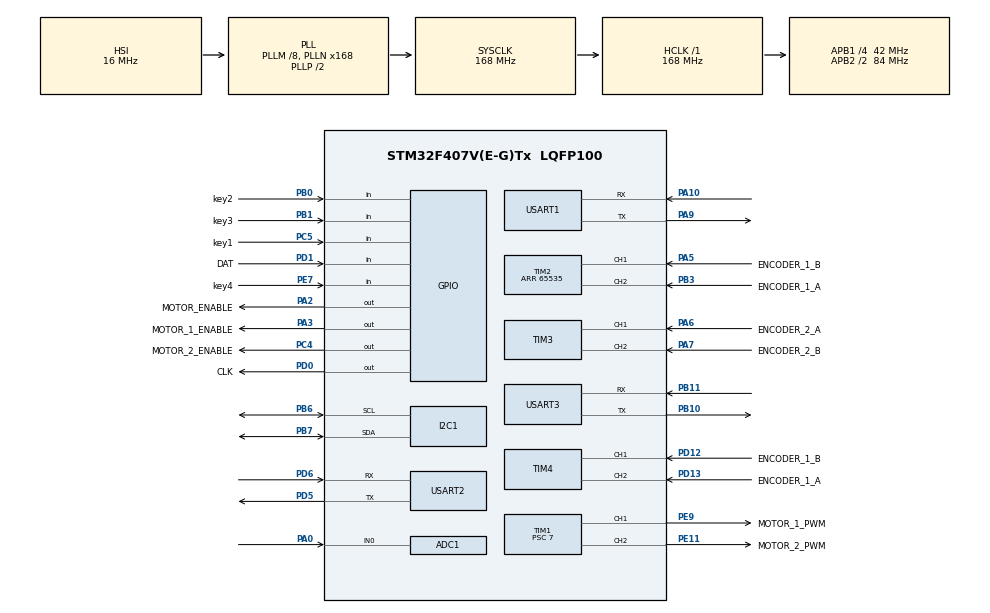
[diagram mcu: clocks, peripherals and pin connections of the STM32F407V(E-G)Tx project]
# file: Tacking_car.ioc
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ADC1.Channel-0\#ChannelRegularConversion=ADC_CHANNEL_0
ADC1.NbrOfConversion=1
ADC1.NbrOfConversionFlag=1
ADC1.Rank-0\#ChannelRegularConversion=1
ADC1.SamplingTime-0\#ChannelRegularConversion=ADC_SAMPLETIME_3CYCLES
ADC1.master=1
Dma.Request0=USART2_RX
Dma.Request1=USART2_TX
Dma.Request2=USART1_RX
Dma.Request3=USART1_TX
Dma.USART1_RX.2.Direction=DMA_PERIPH_TO_MEMORY
Dma.USART1_RX.2.FIFOMode=DMA_FIFOMODE_DISABLE
Dma.USART1_RX.2.Instance=DMA2_Stream2
Dma.USART1_RX.2.MemDataAlignment=DMA_MDATAALIGN_BYTE
Dma.USART1_RX.2.MemInc=DMA_MINC_ENABLE
Dma.USART1_RX.2.Mode=DMA_CIRCULAR
Dma.USART1_RX.2.PeriphDataAlignment=DMA_PDATAALIGN_BYTE
Dma.USART1_RX.2.PeriphInc=DMA_PINC_DISABLE
Dma.USART1_RX.2.Priority=DMA_PRIORITY_LOW
Dma.USART1_TX.3.Direction=DMA_MEMORY_TO_PERIPH
Dma.USART1_TX.3.FIFOMode=DMA_FIFOMODE_DISABLE
Dma.USART1_TX.3.Instance=DMA2_Stream7
Dma.USART1_TX.3.MemDataAlignment=DMA_MDATAALIGN_BYTE
Dma.USART1_TX.3.MemInc=DMA_MINC_ENABLE
Dma.USART1_TX.3.Mode=DMA_NORMAL
Dma.USART1_TX.3.PeriphDataAlignment=DMA_PDATAALIGN_BYTE
Dma.USART1_TX.3.PeriphInc=DMA_PINC_DISABLE
Dma.USART1_TX.3.Priority=DMA_PRIORITY_LOW
Dma.USART2_RX.0.Direction=DMA_PERIPH_TO_MEMORY
Dma.USART2_RX.0.FIFOMode=DMA_FIFOMODE_DISABLE
Dma.USART2_RX.0.Instance=DMA1_Stream5
Dma.USART2_RX.0.MemDataAlignment=DMA_MDATAALIGN_BYTE
Dma.USART2_RX.0.MemInc=DMA_MINC_ENABLE
Dma.USART2_RX.0.Mode=DMA_CIRCULAR
Dma.USART2_RX.0.PeriphDataAlignment=DMA_PDATAALIGN_BYTE
Dma.USART2_RX.0.PeriphInc=DMA_PINC_DISABLE
Dma.USART2_RX.0.Priority=DMA_PRIORITY_LOW
Dma.USART2_TX.1.Direction=DMA_MEMORY_TO_PERIPH
Dma.USART2_TX.1.FIFOMode=DMA_FIFOMODE_DISABLE
Dma.USART2_TX.1.Instance=DMA1_Stream6
Dma.USART2_TX.1.MemDataAlignment=DMA_MDATAALIGN_BYTE
Dma.USART2_TX.1.MemInc=DMA_MINC_ENABLE
Dma.USART2_TX.1.Mode=DMA_NORMAL
Dma.USART2_TX.1.PeriphDataAlignment=DMA_PDATAALIGN_BYTE
Dma.USART2_TX.1.PeriphInc=DMA_PINC_DISABLE
Dma.USART2_TX.1.Priority=DMA_PRIORITY_LOW
FREERTOS.Tasks01=defaultTask,24,256,StartDefaultTask,Default,NULL,Dynamic,NULL,NULL;MotorTest_Task,24,256,MotorTest,Default,NULL,Dynamic,NULL,NULL;ImuTask,24,256,ImuTask03,Default,NULL,Dynamic,NULL,NULL;GrayTrace_Task,16,256,GrayTrace,Default,NULL,Dynamic,NULL,NULL;debugTask,8,512,debug,Default,NULL,Dynamic,NULL,NULL;vofaTask06,8,512,vofa06,Default,NULL,Dynamic,NULL,NULL
Mcu.Family=STM32F4
Mcu.Name=STM32F407V(E-G)Tx
Mcu.Package=LQFP100
NVIC.DMA1_Stream5_IRQn=true\:5\:0\:false\:false\:true\:true\:false\:true\:true
NVIC.DMA1_Stream6_IRQn=true\:5\:0\:false\:false\:true\:true\:false\:true\:true
NVIC.DMA2_Stream2_IRQn=true\:5\:0\:false\:false\:true\:true\:false\:true\:true
NVIC.DMA2_Stream7_IRQn=true\:5\:0\:false\:false\:true\:true\:false\:true\:true
NVIC.PriorityGroup=NVIC_PRIORITYGROUP_4
NVIC.USART1_IRQn=true\:5\:0\:false\:false\:true\:true\:true\:true\:true
NVIC.USART2_IRQn=true\:5\:0\:false\:false\:true\:true\:true\:true\:true
NVIC.USART3_IRQn=true\:5\:0\:false\:false\:true\:true\:true\:true\:true
PA0-WKUP.Signal=ADCx_IN0
PA10.Mode=Asynchronous
PA10.Signal=USART1_RX
PA13.Mode=Serial_Wire
PA13.Signal=SYS_JTMS-SWDIO
PA14.Mode=Serial_Wire
PA14.Signal=SYS_JTCK-SWCLK
PA2.GPIO_Label=MOTOR_ENABLE
PA2.Signal=GPIO_Output
PA3.GPIO_Label=MOTOR_1_ENABLE
PA3.Signal=GPIO_Output
PA5.GPIO_Label=ENCODER_1_B
PA5.Signal=S_TIM2_CH1_ETR
PA6.GPIO_Label=ENCODER_2_A
PA6.Signal=S_TIM3_CH1
PA7.GPIO_Label=ENCODER_2_B
PA7.Signal=S_TIM3_CH2
PA9.Mode=Asynchronous
PA9.Signal=USART1_TX
PB0.GPIO_Label=key2
PB0.GPIO_PuPd=GPIO_PULLUP
PB0.Signal=GPIO_Input
PB1.GPIO_Label=key3
PB1.GPIO_PuPd=GPIO_PULLUP
PB1.Signal=GPIO_Input
PB10.Mode=Asynchronous
PB10.Signal=USART3_TX
PB11.Mode=Asynchronous
PB11.Signal=USART3_RX
PB3.GPIO_Label=ENCODER_1_A
PB3.Signal=S_TIM2_CH2
PB6.Mode=I2C
PB6.Signal=I2C1_SCL
PB7.Mode=I2C
PB7.Signal=I2C1_SDA
PC4.GPIO_Label=MOTOR_2_ENABLE
PC4.Signal=GPIO_Output
PC5.GPIO_Label=key1
PC5.GPIO_PuPd=GPIO_PULLUP
PC5.Signal=GPIO_Input
PD0.GPIO_Label=CLK
PD0.GPIO_ModeDefaultOutputPP=GPIO_MODE_OUTPUT_PP
PD0.GPIO_PuPd=GPIO_PULLUP
PD0.GPIO_Speed=GPIO_SPEED_FREQ_VERY_HIGH
PD0.PinState=GPIO_PIN_SET
PD0.Signal=GPIO_Output
PD1.GPIO_Label=DAT
PD1.GPIO_PuPd=GPIO_PULLUP
PD1.Signal=GPIO_Input
PD12.GPIO_Label=ENCODER_1_B
PD12.Signal=S_TIM4_CH1
PD13.GPIO_Label=ENCODER_1_A
PD13.Signal=S_TIM4_CH2
PD5.Mode=Asynchronous
PD5.Signal=USART2_TX
PD6.Mode=Asynchronous
PD6.Signal=USART2_RX
PE11.GPIO_Label=MOTOR_2_PWM
PE11.Signal=S_TIM1_CH2
PE7.GPIO_Label=key4
PE7.GPIO_PuPd=GPIO_PULLUP
PE7.Signal=GPIO_Input
PE9.GPIO_Label=MOTOR_1_PWM
PE9.Signal=S_TIM1_CH1
ProjectManager.HeapSize=0x200
ProjectManager.StackSize=0x400
ProjectManager.TargetToolchain=CMake
RCC.48MHZClocksFreq_Value=84000000
RCC.AHBFreq_Value=168000000
RCC.APB1CLKDivider=RCC_HCLK_DIV4
RCC.APB1Freq_Value=42000000
RCC.APB1TimFreq_Value=84000000
RCC.APB2CLKDivider=RCC_HCLK_DIV2
RCC.APB2Freq_Value=84000000
RCC.APB2TimFreq_Value=168000000
RCC.CortexFreq_Value=168000000
RCC.HCLKFreq_Value=168000000
RCC.HSE_VALUE=25000000
RCC.HSI_VALUE=16000000
RCC.LSE_VALUE=32768
RCC.PLLM=8
RCC.PLLN=168
RCC.SYSCLKFreq_VALUE=168000000
RCC.SYSCLKSource=RCC_SYSCLKSOURCE_PLLCLK
RCC.VCOOutputFreq_Value=336000000
SH.ADCx_IN0.0=ADC1_IN0,IN0
SH.S_TIM1_CH1.0=TIM1_CH1,PWM Generation1 CH1
SH.S_TIM1_CH2.0=TIM1_CH2,PWM Generation2 CH2
SH.S_TIM2_CH1_ETR.0=TIM2_CH1,Encoder_Interface
SH.S_TIM2_CH2.0=TIM2_CH2,Encoder_Interface
SH.S_TIM3_CH1.0=TIM3_CH1,Encoder_Interface
SH.S_TIM3_CH2.0=TIM3_CH2,Encoder_Interface
SH.S_TIM4_CH1.0=TIM4_CH1,Encoder_Interface
SH.S_TIM4_CH2.0=TIM4_CH2,Encoder_Interface
TIM1.AutoReloadPreload=TIM_AUTORELOAD_PRELOAD_DISABLE
TIM1.Channel-PWM\ Generation1\ CH1=TIM_CHANNEL_1
TIM1.Channel-PWM\ Generation2\ CH2=TIM_CHANNEL_2
TIM1.Period=999
TIM1.Prescaler=7
TIM2.EncoderMode=TIM_ENCODERMODE_TI12
TIM2.Period=65535
TIM3.EncoderMode=TIM_ENCODERMODE_TI12
TIM4.EncoderMode=TIM_ENCODERMODE_TI12
USART1.VirtualMode=VM_ASYNC
USART2.VirtualMode=VM_ASYNC
USART3.VirtualMode=VM_ASYNC
VP_FREERTOS_VS_CMSIS_V2.Mode=CMSIS_V2
board=custom

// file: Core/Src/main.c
/* USER CODE BEGIN Header */
/**
  ******************************************************************************
  * @file           : main.c
  * @brief          : Main program body
  ******************************************************************************
  * @attention
  *
  * Copyright (c) 2026 STMicroelectronics.
  * All rights reserved.
  *
  * This software is licensed under terms that can be found in the LICENSE file
  * in the root directory of this software component.
  * If no LICENSE file comes with this software, it is provided AS-IS.
  *
  ******************************************************************************
  */
/* USER CODE END Header */
#include "main.h"
#include "cmsis_os.h"
#include "adc.h"
#include "i2c.h"
#include "tim.h"
#include "usart.h"
#include "gpio.h"

/* USER CODE BEGIN Includes */
#include "test.h"
/* USER CODE END Includes */

void SystemClock_Config(void);
void MX_FREERTOS_Init(void);

int main(void)
{

  /* MCU Configuration--------------------------------------------------------*/

  /* Reset of all peripherals, Initializes the Flash interface and the Systick. */
  HAL_Init();

  /* Configure the system clock */
  SystemClock_Config();

  /* Initialize all configured peripherals */
  MX_GPIO_Init();
  MX_TIM1_Init();
  MX_TIM2_Init();
  MX_TIM3_Init();
  MX_USART1_UART_Init();
  MX_TIM4_Init();
  MX_USART3_UART_Init();
  MX_ADC1_Init();
  MX_I2C1_Init();
  MX_USART2_UART_Init();

  /* Init scheduler */
  osKernelInitialize();  /* Call init function for freertos objects (in cmsis_os2.c) */
  MX_FREERTOS_Init();

  /* Start scheduler */
  osKernelStart();

  /* We should never get here as control is now taken by the scheduler */

  /* Infinite loop */
  while (1)
  {

  }
}

void SystemClock_Config(void)
{
  RCC_OscInitTypeDef RCC_OscInitStruct = {0};
  RCC_ClkInitTypeDef RCC_ClkInitStruct = {0};

  /** Configure the main internal regulator output voltage
  */
  __HAL_RCC_PWR_CLK_ENABLE();
  __HAL_PWR_VOLTAGESCALING_CONFIG(PWR_REGULATOR_VOLTAGE_SCALE1);

  /** Initializes the RCC Oscillators according to the specified parameters
  * in the RCC_OscInitTypeDef structure.
  */
  RCC_OscInitStruct.OscillatorType = RCC_OSCILLATORTYPE_HSI;
  RCC_OscInitStruct.HSIState = RCC_HSI_ON;
  RCC_OscInitStruct.HSICalibrationValue = RCC_HSICALIBRATION_DEFAULT;
  RCC_OscInitStruct.PLL.PLLState = RCC_PLL_ON;
  RCC_OscInitStruct.PLL.PLLSource = RCC_PLLSOURCE_HSI;
  RCC_OscInitStruct.PLL.PLLM = 8;
  RCC_OscInitStruct.PLL.PLLN = 168;
  RCC_OscInitStruct.PLL.PLLP = RCC_PLLP_DIV2;
  RCC_OscInitStruct.PLL.PLLQ = 4;
  if (HAL_RCC_OscConfig(&RCC_OscInitStruct) != HAL_OK)
  {
    Error_Handler();
  }

  /** Initializes the CPU, AHB and APB buses clocks
  */
  RCC_ClkInitStruct.ClockType = RCC_CLOCKTYPE_HCLK|RCC_CLOCKTYPE_SYSCLK
                              |RCC_CLOCKTYPE_PCLK1|RCC_CLOCKTYPE_PCLK2;
  RCC_ClkInitStruct.SYSCLKSource = RCC_SYSCLKSOURCE_PLLCLK;
  RCC_ClkInitStruct.AHBCLKDivider = RCC_SYSCLK_DIV1;
  RCC_ClkInitStruct.APB1CLKDivider = RCC_HCLK_DIV4;
  RCC_ClkInitStruct.APB2CLKDivider = RCC_HCLK_DIV2;

  if (HAL_RCC_ClockConfig(&RCC_ClkInitStruct, FLASH_LATENCY_5) != HAL_OK)
  {
    Error_Handler();
  }
}

void Error_Handler(void)
{
  __disable_irq();
  while (1)
  {
  }
}

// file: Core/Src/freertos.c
/* USER CODE BEGIN Header */
/**
  ******************************************************************************
  * File Name          : freertos.c
  * Description        : STM32F407 FreeRTOS application framework
  ******************************************************************************
  * @note 任务框架参考MSPM0工程，仍使用当前CubeMX生成的CMSIS-RTOS v2封装。
  ******************************************************************************
  */
/* USER CODE END Header */

#include "FreeRTOS.h"
#include "task.h"
#include "main.h"
#include "cmsis_os.h"

/* USER CODE BEGIN Includes */
#include "app_init.h"
#include "chassis.h"
#include "debug_task.h"
#include "grayscale_task.h"
#include "imu_task.h"
#include "line_ab_curve_test.h"
#include "line_route.h"
#include "line_track.h"
#include "motor_control.h"
#include "project_config.h"
#include "vofa_task.h"
#include "ui_task.h"
#include "vision_task.h"
#include "qd4310_test.h"
/* USER CODE END Includes */

/* USER CODE BEGIN PD */
/*
 * CMSIS-RTOS v2的stack_size单位为字节；参考工程的配置单位为
 * StackType_t字数，因此在这里统一换算，避免直接照搬后缩小4倍。
 */
#define MOTOR_TASK_STACK_WORDS       640U
#define CHASSIS_TASK_STACK_WORDS     512U
#define IMU_TASK_STACK_WORDS         512U
#define DEBUG_TASK_STACK_WORDS       512U
#define VOFA_TASK_STACK_WORDS        1024U
/* USER CODE END PD */

/* USER CODE BEGIN Variables */
volatile osThreadId_t g_xStackOverflowTask;
volatile const char *g_pcStackOverflowTaskName;
/* USER CODE END Variables */
/* Definitions for defaultTask */
osThreadId_t defaultTaskHandle;
const osThreadAttr_t defaultTask_attributes = {
  .name = "defaultTask",
  /* StartDefaultTask同时执行循迹状态机、IMU/灰度融合和底盘运动学。 */
  .stack_size = CHASSIS_TASK_STACK_WORDS * sizeof(StackType_t),
  .priority = (osPriority_t) osPriorityNormal,
};
/* Definitions for MotorTest_Task */
osThreadId_t MotorTest_TaskHandle;
const osThreadAttr_t MotorTest_Task_attributes = {
  .name = "MotorTest_Task",
  .stack_size = 256 * 4,
  .priority = (osPriority_t) osPriorityNormal,
};
/* Definitions for ImuTask */
osThreadId_t ImuTaskHandle;
const osThreadAttr_t ImuTask_attributes = {
  .name = "ImuTask",
  .stack_size = 256 * 4,
  .priority = (osPriority_t) osPriorityNormal,
};
/* Definitions for GrayTrace_Task */
osThreadId_t GrayTrace_TaskHandle;
const osThreadAttr_t GrayTrace_Task_attributes = {
  .name = "GrayTrace_Task",
  .stack_size = 256 * 4,
  .priority = (osPriority_t) osPriorityBelowNormal,
};
/* Definitions for debugTask */
osThreadId_t debugTaskHandle;
const osThreadAttr_t debugTask_attributes = {
  .name = "debugTask",
  .stack_size = 512 * 4,
  .priority = (osPriority_t) osPriorityLow,
};
/* Definitions for vofaTask06 */
osThreadId_t vofaTask06Handle;
const osThreadAttr_t vofaTask06_attributes = {
  .name = "vofaTask06",
  /* VOFA帧使用浮点snprintf，增大栈空间避免格式化时栈溢出。 */
  .stack_size = VOFA_TASK_STACK_WORDS * sizeof(StackType_t),
  .priority = (osPriority_t) osPriorityLow,
};
/* Definitions for QD4310 test task */
osThreadId_t Qd4310TestTaskHandle;
const osThreadAttr_t Qd4310TestTask_attributes = {
  .name = "Qd4310TestTask",
  .stack_size = 512 * 4,
  .priority = (osPriority_t) osPriorityAboveNormal,
};

void StartDefaultTask(void *argument);
void MotorTest(void *argument);
void ImuTask03(void *argument);
void GrayTrace(void *argument);
void debug(void *argument);
void vofa06(void *argument);

void MX_FREERTOS_Init(void); /* (MISRA C 2004 rule 8.1) */

void MX_FREERTOS_Init(void) {
  /* USER CODE BEGIN Init */
  vAppModuleInit();
  /* USER CODE END Init */

  /* Create the thread(s) */
  /* creation of defaultTask */
  defaultTaskHandle = osThreadNew(StartDefaultTask, NULL, &defaultTask_attributes);

  /* creation of MotorTest_Task */
  MotorTest_TaskHandle = osThreadNew(MotorTest, NULL, &MotorTest_Task_attributes);

  /* creation of ImuTask */
  ImuTaskHandle = osThreadNew(ImuTask03, NULL, &ImuTask_attributes);

  /* creation of GrayTrace_Task */
  GrayTrace_TaskHandle = osThreadNew(GrayTrace, NULL, &GrayTrace_Task_attributes);

  /* creation of debugTask */
  debugTaskHandle = osThreadNew(debug, NULL, &debugTask_attributes);

  /* VOFA is temporarily disabled because USART1 is reserved for vision. */
  vofaTask06Handle = NULL;

  /* creation of QD4310 test task */
  Qd4310TestTaskHandle = osThreadNew(vQd4310TestTask, NULL,
      &Qd4310TestTask_attributes);

}

void StartDefaultTask(void *argument)
{
  /* USER CODE BEGIN StartDefaultTask */
  uint32_t ulWakeTick = osKernelGetTickCount();

  (void)argument;
  for (;;)
  {
    vVisionTaskUpdate();
    vUiTaskUpdate();
    const stChassisDeviceParamTdf *pstChassis;

    /*
     * debug任务只写入vy/omega目标；本任务完成差速运动学换算，并把
     * 左右轮RPM交给电机速度环。DC_MOTOR1为左轮，DC_MOTOR2为右轮。
     */
    if ((emChassisImuRotateGetState() == emChassisImuRotateRunning) ||
        (g_emDebugMode == emDebugModeNone) ||
        (g_emDebugMode == emDebugModeChassis) ||
        (g_emDebugMode == emDebugModeImuRotate) ||
        (g_emDebugMode == emDebugModeLineTrackImu) ||
        (g_emDebugMode == emDebugModeCurveLineTrackImu) ||
        (g_emDebugMode == emDebugModeGrayLineTrack) ||
        (g_emDebugMode == emDebugModeLineRoute) ||
        (g_emDebugMode == emDebugModeAbCurveTest) ||
        (g_emDebugMode == emDebugModeCascadeRotate))
    {
      if (emChassisImuRotateGetState() == emChassisImuRotateRunning)
      {
        vChassisImuRotateUpdate();
      }

      if (g_emDebugMode == emDebugModeLineTrackImu)
      {
        /* 灰度负责位置外环，IMU角速度负责抑制弯道中的转动误差。 */
        vLineTrackImuUpdateByTargetRpm(LINE_TRACK_TARGET_RPM);
      }
      else if (g_emDebugMode == emDebugModeCurveLineTrackImu)
      {
        /* 弯道丢线时由循迹模块保持最近一次有效线速度。 */
        vLineTrackCurveImuUpdateByTargetRpm(LINE_TRACK_TARGET_RPM);
      }
      else if (g_emDebugMode == emDebugModeGrayLineTrack)
      {
        /* Pure grayscale tracking speed is configured by LINE_TRACK_GRAY_ONLY_TARGET_RPM. */
        vLineTrackUpdateByTargetRpm(LINE_TRACK_GRAY_ONLY_TARGET_RPM);
      }
      else if (g_emDebugMode == emDebugModeLineRoute)
      {
        /* 第2/5/6问共用路线：直线用灰度+IMU，弯道用纯灰度。 */
        vLineRouteUpdate();
        if (emLineRouteGetState() == emLineRouteStopped)
        {
          vUiFinishRun();
        }
      }
      else if (g_emDebugMode == emDebugModeAbCurveTest)
      {
        /* AB直线后切换弯道循迹，并按独立时长停车。 */
        vLineAbCurveUpdate();
        if (emLineAbCurveGetState() == emLineAbCurveStopped)
        {
          vUiFinishRun();
        }
      }

      vChassisUpdate();
      pstChassis = c_pstGetChassisDeviceParam();
      vMotorControlSetTargetRpm(DC_MOTOR1,
          pstChassis->stRunningParam.fLeftTargetSpeed);
      vMotorControlSetTargetRpm(DC_MOTOR2,
          pstChassis->stRunningParam.fRightTargetSpeed);
    }

    ulWakeTick += MOTOR_SAMPLE_TIME;
    (void)osDelayUntil(ulWakeTick);
  }
  /* USER CODE END StartDefaultTask */
}

void MotorTest(void *argument)
{
  /* USER CODE BEGIN MotorTest */
  uint32_t ulWakeTick = osKernelGetTickCount();

  (void)argument;
  for (;;)
  {
    /* 固定10ms更新两路定时器编码器测速、速度PID和PWM。 */
    vMotorControlUpdate();
    ulWakeTick += MOTOR_SAMPLE_TIME;
    (void)osDelayUntil(ulWakeTick);
  }
  /* USER CODE END MotorTest */
}

void ImuTask03(void *argument)
{
  /* USER CODE BEGIN ImuTask03 */
  /* IMU底层继续使用当前工程USART3中断，本任务只处理最新有效数据。 */
  vImuTask(argument);
  /* USER CODE END ImuTask03 */
}

void GrayTrace(void *argument)
{
  /* USER CODE BEGIN GrayTrace */
  /* 每10ms读取一次8路数字灰度数据，循迹处理由后续功能单独调用。 */
  vGrayscaleTask(argument);
  /* USER CODE END GrayTrace */
}

void debug(void *argument)
{
  /* USER CODE BEGIN debug */
  /* 默认进入底盘测试：停车保护3秒后，以100RPM对应线速度前进。 */
  vDebugTask(argument);
  /* USER CODE END debug */
}

void vofa06(void *argument)
{
  /* USER CODE BEGIN vofa06 */
  /* 复用当前工程VOFA_SendFloat，每100ms打印一次两路电机状态。 */
  vVofaTask(argument);
  /* USER CODE END vofa06 */
}

/* USER CODE BEGIN Application */
/**
  * @brief  FreeRTOS栈溢出钩子
  * @note   保存任务信息后停机，便于调试器定位。
  */
void vApplicationStackOverflowHook(TaskHandle_t xTask, char *pcTaskName)
{
  g_xStackOverflowTask = (osThreadId_t)xTask;
  g_pcStackOverflowTaskName = pcTaskName;
  taskDISABLE_INTERRUPTS();
  for (;;)
  {
  }
}

void vApplicationMallocFailedHook(void)
{
  taskDISABLE_INTERRUPTS();
  for (;;)
  {
  }
}
/* USER CODE END Application */
